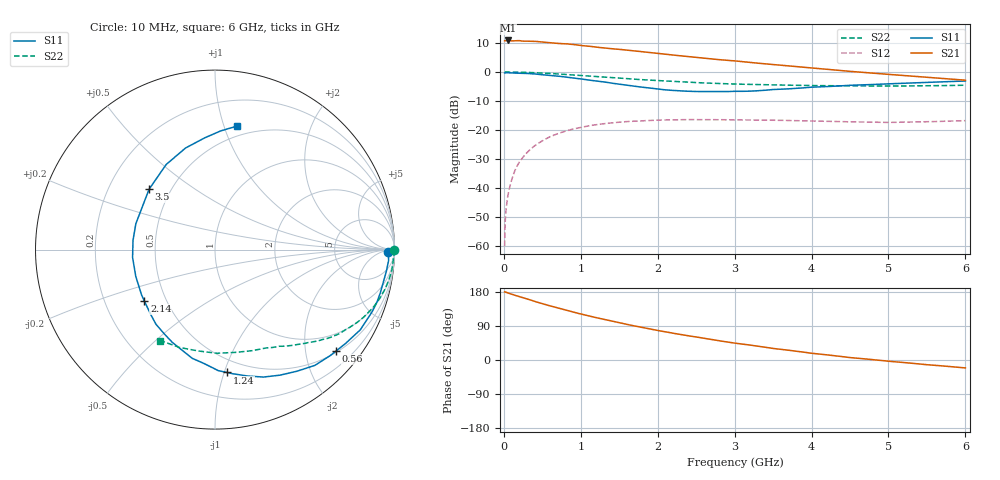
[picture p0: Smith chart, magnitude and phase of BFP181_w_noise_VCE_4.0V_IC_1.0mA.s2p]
! Infineon Technologies  Discrete & RF Semiconductors
! BFP181
! VCE = 4.0 V,  IC =  1.0 mA
! Common Emitter S-Parameters:  Jan 2016
# GHz  S  MA  R  50
!  f  S11  S21  S12  S22
! GHz  MAG  ANG  MAG  ANG  MAG  ANG  MAG  ANG
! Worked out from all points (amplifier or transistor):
!   210 points, 10 MHz to 6 GHz, reference 50 ohm
!   highest |S21| = 10.8 dB at 50 MHz (marker M1)
!   |S21| within 3 dB of that: start of sweep to 1.474 GHz
!   unconditionally stable (mu >= 1): 3.091 GHz to end of sweep
!   at 185 MHz: K = 0.07, MSG = 21.3 dB, |S12| = -31.8 dB
!   at 1.52 GHz: K = 0.52, MSG = 12.5 dB, |S12| = -17.3 dB
!   at 6 GHz: K = 1.26, MAG = 3.9 dB, |S12| = -16.8 dB
!   lowest NFmin = 1.30 dB at 450 MHz
!   S11 on the Smith chart (normalised r, x): 10 MHz: 45, -18; 560 MHz: 0.53, -2.66; 1.24 GHz: 0.39, -1.02; 2.14 GHz: 0.38, -0.28; 3.5 GHz: 0.38, +0.34; 6 GHz: 0.41, +1.10
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0.01  0.9625 -0.9  3.438 179.6  0.001 90.9  0.9979 -0.2
0.015  0.9638 -1.2  3.441 179.5  0.002 87.9  0.9962 -0.4
0.02  0.9651 -1.4  3.444 179.4  0.003 86.9  0.9946 -0.7
0.03  0.9664 -2.1  3.457 178.6  0.0044 89.3  0.9955 -1.0
0.05  0.9694 -3.5  3.484 176.9  0.0071 91.4  0.9973 -1.7
0.12  0.9585 -8.8  3.429 172.5  0.0165 83.1  0.994 -4.1
0.2  0.9522 -14.6  3.462 167.2  0.0278 80.8  0.9917 -6.7
0.4  0.9248 -28.9  3.375 154.6  0.0534 71.0  0.9714 -13.3
0.56  0.8799 -39.9  3.229 145.1  0.072 63.5  0.9483 -18.1
0.8  0.8172 -56.0  3.06 131.6  0.0956 54.0  0.9081 -24.7
1.02  0.7524 -70.4  2.839 120.4  0.112 45.8  0.8648 -30.2
1.24  0.6876 -84.5  2.64 110.0  0.1256 38.5  0.8271 -35.1
1.5  0.619 -101.8  2.454 98.1  0.1364 31.6  0.7817 -39.8
1.66  0.5767 -111.9  2.328 91.4  0.141 27.8  0.7572 -42.5
2.02  0.505 -136.0  2.07 77.3  0.1482 20.3  0.7083 -48.0
2.14  0.4865 -144.0  1.99 72.9  0.1492 18.1  0.6942 -49.8
2.6  0.4612 -174.6  1.731 57.4  0.1508 11.2  0.6459 -56.5
3.1  0.4637 156.8  1.503 42.1  0.1493 5.3  0.6139 -63.8
3.5  0.498 137.5  1.344 30.5  0.1478 2.1  0.5998 -69.9
4.1  0.5523 117.0  1.138 15.8  0.142 -1.0  0.581 -80.9
5.1  0.6314 93.6  0.887 -4.9  0.1357 -0.7  0.5724 -101.5
6  0.6983 80.0  0.721 -20.9  0.1452 1.6  0.5909 -121.0
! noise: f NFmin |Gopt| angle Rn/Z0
0.45  1.3  0.7  18  0.5
0.9  1.4  0.6  39  0.52
1.8  1.85  0.4  81  0.47
